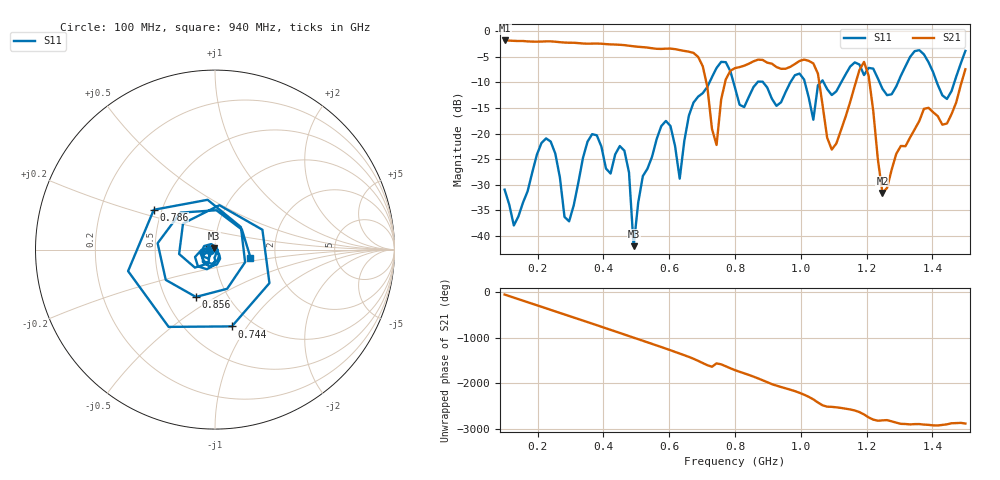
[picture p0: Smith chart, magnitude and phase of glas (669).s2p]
! NanoVNA-App
! Date: 2025-09-25 16:00:41
! Start: 100MHz Stop: 1,5GHz Points: 101
! S-Parameter data: F S11 S21 S12 S22
# Hz S RI R 50
!  Frequency  S11_Real  S11_Imag  S21_Real  S21_Imag  S12_Real  S12_Imag  S22_Real  S22_Imag
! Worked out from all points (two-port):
!   101 points, 100 MHz to 1.5 GHz, reference 50 ohm
!   highest |S21| = -1.80 dB at 100 MHz (marker M1); lowest = -31.6 dB at 1.248 GHz (marker M2)
!   |S21| within 3 dB of the highest: start of sweep to 684.2 MHz
!   lowest |S11| = -42.0 dB at 492 MHz (marker M3), VSWR 1.02, Z = 49.5 + j0.612 ohm
!   |S11| at or under -10 dB: start of sweep to 722.4 MHz; 795.5 MHz to 867.9 MHz (72.44 MHz wide, 8.71 % of centre); 885.8 MHz to 968 MHz (82.24 MHz wide, 8.87 % of centre) (the widest 3 of 7)
!   S12 and S22 are empty: the file has one direction only
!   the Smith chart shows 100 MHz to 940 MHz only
!   S11 on the Smith chart (normalised r, x): 100 MHz: 0.94, -0.01; 744 MHz: 0.80, -0.85; 786 MHz: 0.45, +0.24; 856 MHz: 0.71, -0.41; 940 MHz: 1.49, -0.14
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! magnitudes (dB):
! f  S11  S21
! 100 MHz  -30.9  -1.8
! 128 MHz  -37.9  -1.9
! 226 MHz  -20.9  -2.0
! 296 MHz  -37.1  -2.2
! 338 MHz  -24.7  -2.4
! 464 MHz  -23.3  -2.7
! 492 MHz  -42.0  -2.9
! 576 MHz  -18.5  -3.5
! 632 MHz  -28.8  -3.7
! 702 MHz  -12.1  -6.8
! 744 MHz  -7.2  -22.2
! 786 MHz  -7.8  -7.7
! 800 MHz  -11.0  -7.2
! 856 MHz  -10.9  -5.9
! 940 MHz  -13.9  -7.3
! 996 MHz  -8.3  -5.8
! 1.038 GHz  -17.3  -6.3
! 1.094 GHz  -12.5  -23.1
! 1.192 GHz  -8.6  -6.0
! 1.248 GHz  -11.2  -31.6
! 1.276 GHz  -12.3  -27.0
! 1.5 GHz  -3.8  -7.4
